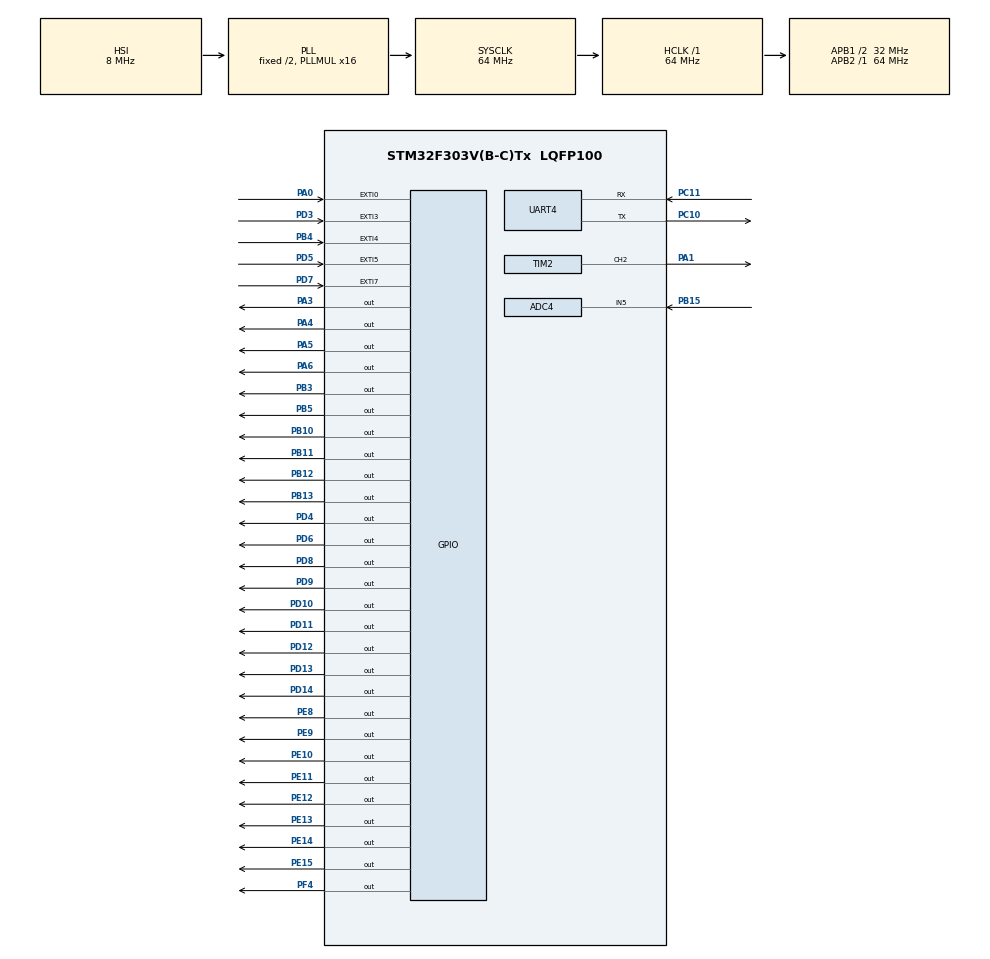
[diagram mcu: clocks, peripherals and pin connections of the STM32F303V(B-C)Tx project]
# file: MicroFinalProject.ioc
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ADC4.Channel-0\#ChannelRegularConversion=ADC_CHANNEL_5
ADC4.NbrOfConversionFlag=1
ADC4.Offset-0\#ChannelRegularConversion=0
ADC4.OffsetNumber-0\#ChannelRegularConversion=ADC_OFFSET_NONE
ADC4.Rank-0\#ChannelRegularConversion=1
ADC4.SamplingTime-0\#ChannelRegularConversion=ADC_SAMPLETIME_1CYCLE_5
Mcu.Family=STM32F3
Mcu.Name=STM32F303V(B-C)Tx
Mcu.Package=LQFP100
NVIC.ADC4_IRQn=true\:4\:0\:true\:false\:true\:true\:true\:true
NVIC.EXTI0_IRQn=true\:1\:0\:true\:false\:true\:true\:true\:true
NVIC.EXTI3_IRQn=true\:1\:0\:true\:false\:true\:true\:true\:true
NVIC.EXTI4_IRQn=true\:1\:0\:true\:false\:true\:true\:true\:true
NVIC.EXTI9_5_IRQn=true\:1\:0\:true\:false\:true\:true\:true\:true
NVIC.PriorityGroup=NVIC_PRIORITYGROUP_4
NVIC.TIM2_IRQn=true\:4\:0\:true\:false\:true\:true\:true\:true
NVIC.TIM3_IRQn=true\:3\:0\:true\:false\:true\:true\:true\:true
NVIC.TIM4_IRQn=true\:2\:0\:true\:false\:true\:true\:true\:true
NVIC.TIM6_DAC_IRQn=true\:1\:0\:true\:false\:true\:true\:true\:true
NVIC.UART4_IRQn=true\:1\:0\:true\:false\:true\:true\:true\:true
PA0.GPIO_PuPd=GPIO_PULLDOWN
PA0.Signal=GPXTI0
PA1.Signal=S_TIM2_CH2
PA3.GPIO_PuPd=GPIO_PULLDOWN
PA3.Signal=GPIO_Output
PA4.GPIO_PuPd=GPIO_PULLDOWN
PA4.Signal=GPIO_Output
PA5.GPIO_PuPd=GPIO_PULLDOWN
PA5.Signal=GPIO_Output
PA6.GPIO_PuPd=GPIO_PULLDOWN
PA6.Signal=GPIO_Output
PB10.GPIO_PuPd=GPIO_PULLDOWN
PB10.Signal=GPIO_Output
PB11.GPIO_PuPd=GPIO_PULLDOWN
PB11.Signal=GPIO_Output
PB12.GPIO_PuPd=GPIO_PULLDOWN
PB12.Signal=GPIO_Output
PB13.GPIO_PuPd=GPIO_PULLDOWN
PB13.Signal=GPIO_Output
PB15.Mode=IN5-Single-Ended
PB15.Signal=ADC4_IN5
PB3.GPIO_PuPd=GPIO_PULLDOWN
PB3.Signal=GPIO_Output
PB4.GPIO_PuPd=GPIO_PULLDOWN
PB4.Signal=GPXTI4
PB5.GPIO_PuPd=GPIO_PULLDOWN
PB5.Signal=GPIO_Output
PC10.Mode=Asynchronous
PC10.Signal=UART4_TX
PC11.Mode=Asynchronous
PC11.Signal=UART4_RX
PD10.GPIO_PuPd=GPIO_PULLDOWN
PD10.Signal=GPIO_Output
PD11.GPIO_PuPd=GPIO_PULLDOWN
PD11.Signal=GPIO_Output
PD12.GPIO_PuPd=GPIO_PULLDOWN
PD12.Signal=GPIO_Output
PD13.GPIO_PuPd=GPIO_PULLDOWN
PD13.Signal=GPIO_Output
PD14.GPIO_PuPd=GPIO_PULLDOWN
PD14.Signal=GPIO_Output
PD3.GPIO_PuPd=GPIO_PULLDOWN
PD3.Signal=GPXTI3
PD4.GPIO_PuPd=GPIO_PULLDOWN
PD4.Signal=GPIO_Output
PD5.GPIO_PuPd=GPIO_PULLDOWN
PD5.Signal=GPXTI5
PD6.GPIO_PuPd=GPIO_PULLDOWN
PD6.Signal=GPIO_Output
PD7.GPIO_PuPd=GPIO_PULLDOWN
PD7.Signal=GPXTI7
PD8.GPIO_PuPd=GPIO_PULLDOWN
PD8.Signal=GPIO_Output
PD9.GPIO_PuPd=GPIO_PULLDOWN
PD9.Signal=GPIO_Output
PE10.GPIO_PuPd=GPIO_PULLDOWN
PE10.Signal=GPIO_Output
PE11.GPIO_PuPd=GPIO_PULLDOWN
PE11.Signal=GPIO_Output
PE12.GPIO_PuPd=GPIO_PULLDOWN
PE12.Signal=GPIO_Output
PE13.GPIO_PuPd=GPIO_PULLDOWN
PE13.Signal=GPIO_Output
PE14.GPIO_PuPd=GPIO_PULLDOWN
PE14.Signal=GPIO_Output
PE15.GPIO_PuPd=GPIO_PULLDOWN
PE15.Signal=GPIO_Output
PE8.GPIO_PuPd=GPIO_PULLDOWN
PE8.Signal=GPIO_Output
PE9.GPIO_PuPd=GPIO_PULLDOWN
PE9.Signal=GPIO_Output
PF4.GPIO_PuPd=GPIO_PULLDOWN
PF4.Signal=GPIO_Output
ProjectManager.HeapSize=0x200
ProjectManager.StackSize=0x400
ProjectManager.TargetToolchain=STM32CubeIDE
RCC.AHBFreq_Value=64000000
RCC.APB1CLKDivider=RCC_HCLK_DIV2
RCC.APB1Freq_Value=32000000
RCC.APB1TimFreq_Value=64000000
RCC.APB2Freq_Value=64000000
RCC.APB2TimFreq_Value=64000000
RCC.CortexFreq_Value=64000000
RCC.HCLKFreq_Value=64000000
RCC.HSE_VALUE=8000000
RCC.HSI_VALUE=8000000
RCC.LSE_VALUE=32768
RCC.PLLMUL=RCC_PLL_MUL16
RCC.SYSCLKFreq_VALUE=64000000
RCC.SYSCLKSourceVirtual=RCC_SYSCLKSOURCE_PLLCLK
RCC.USBFreq_Value=64000000
RTC.AsynchPrediv=39
RTC.SynchPrediv=999
SH.S_TIM2_CH2.0=TIM2_CH2,PWM Generation2 CH2
TIM2.Channel-PWM\ Generation2\ CH2=TIM_CHANNEL_2
TIM2.Period=999
TIM2.Prescaler=999
TIM3.Period=9999
TIM3.Prescaler=1399
TIM4.Period=999
TIM4.Prescaler=63
TIM6.Period=9999
TIM6.Prescaler=3199
VP_RTC_VS_RTC_Activate.Mode=RTC_Enabled
VP_RTC_VS_RTC_Calendar.Mode=RTC_Calendar
VP_TIM2_VS_ClockSourceINT.Mode=Internal
VP_TIM3_VS_ClockSourceINT.Mode=Internal
VP_TIM4_VS_ClockSourceINT.Mode=Internal
VP_TIM6_VS_ClockSourceINT.Mode=Enable_Timer
board=custom

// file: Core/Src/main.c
/* USER CODE BEGIN Header */
/**
  ******************************************************************************
  * @file           : main.c
  * @brief          : Main program body
  ******************************************************************************
  * @attention
  *
  * Copyright (c) 2022 STMicroelectronics.
  * All rights reserved.
  *
  * This software is licensed under terms that can be found in the LICENSE file
  * in the root directory of this software component.
  * If no LICENSE file comes with this software, it is provided AS-IS.
  *
  ******************************************************************************
  */
/* USER CODE END Header */
#include "main.h"

/* USER CODE BEGIN Includes */
#include "LiquidCrystal.h"
/* USER CODE END Includes */

/* USER CODE BEGIN PD */
#define NOTE_B0  31
#define NOTE_C1  33
#define NOTE_CS1 35
#define NOTE_D1  37
#define NOTE_DS1 39
#define NOTE_E1  41
#define NOTE_F1  44
#define NOTE_FS1 46
#define NOTE_G1  49
#define NOTE_GS1 52
#define NOTE_A1  55
#define NOTE_AS1 58
#define NOTE_B1  62
#define NOTE_C2  65
#define NOTE_CS2 69
#define NOTE_D2  73
#define NOTE_DS2 78
#define NOTE_E2  82
#define NOTE_F2  87
#define NOTE_FS2 93
#define NOTE_G2  98
#define NOTE_GS2 104
#define NOTE_A2  110
#define NOTE_AS2 117
#define NOTE_B2  123
#define NOTE_C3  131
#define NOTE_CS3 139
#define NOTE_D3  147
#define NOTE_DS3 156
#define NOTE_E3  165
#define NOTE_F3  175
#define NOTE_FS3 185
#define NOTE_G3  196
#define NOTE_GS3 208
#define NOTE_A3  220
#define NOTE_AS3 233
#define NOTE_B3  247
#define NOTE_C4  262
#define NOTE_CS4 277
#define NOTE_D4  294
#define NOTE_DS4 311
#define NOTE_E4  330
#define NOTE_F4  349
#define NOTE_FS4 370
#define NOTE_G4  392
#define NOTE_GS4 415
#define NOTE_A4  440
#define NOTE_AS4 466
#define NOTE_B4  494
#define NOTE_C5  523
#define NOTE_CS5 554
#define NOTE_D5  587
#define NOTE_DS5 622
#define NOTE_E5  659
#define NOTE_F5  698
#define NOTE_FS5 740
#define NOTE_G5  784
#define NOTE_GS5 831
#define NOTE_A5  880
#define NOTE_AS5 932
#define NOTE_B5  988
#define NOTE_C6  1047
#define NOTE_CS6 1109
#define NOTE_D6  1175
#define NOTE_DS6 1245
#define NOTE_E6  1319
#define NOTE_F6  1397
#define NOTE_FS6 1480
#define NOTE_G6  1568
#define NOTE_GS6 1661
#define NOTE_A6  1760
#define NOTE_AS6 1865
#define NOTE_B6  1976
#define NOTE_C7  2093
#define NOTE_CS7 2217
#define NOTE_D7  2349
#define NOTE_DS7 2489
#define NOTE_E7  2637
#define NOTE_F7  2794
#define NOTE_FS7 2960
#define NOTE_G7  3136
#define NOTE_GS7 3322
#define NOTE_A7  3520
#define NOTE_AS7 3729
#define NOTE_B7  3951
#define NOTE_C8  4186
#define NOTE_CS8 4435
#define NOTE_D8  4699
#define NOTE_DS8 4978
#define REST      0
/* USER CODE END PD */

ADC_HandleTypeDef hadc4;

RTC_HandleTypeDef hrtc;

TIM_HandleTypeDef htim2;
TIM_HandleTypeDef htim3;
TIM_HandleTypeDef htim4;
TIM_HandleTypeDef htim6;

UART_HandleTypeDef huart4;

/* USER CODE BEGIN PV */
extern GPIO_TypeDef *const Column_ports[];
extern const uint16_t Column_pins[];
extern unsigned char data;
extern unsigned char buffer[100];
extern int position;
extern unsigned char name[100];
extern unsigned char plat_char[];
extern unsigned char broke_plat_char[];
extern unsigned char spring_plat_char[];
extern unsigned char black_hole_char[];
extern unsigned char alien_char[];
extern unsigned char player_char[];

extern void setup_melody(int melody[], int size_arr);
/* USER CODE END PV */

void SystemClock_Config(void);

static void MX_GPIO_Init(void);

static void MX_UART4_Init(void);

static void MX_RTC_Init(void);

static void MX_TIM4_Init(void);

static void MX_TIM2_Init(void);

static void MX_TIM3_Init(void);

static void MX_TIM6_Init(void);

static void MX_ADC4_Init(void);

/* USER CODE BEGIN 0 */
int starwars_sound[] = {

        NOTE_AS4, 8, NOTE_AS4, 8, NOTE_AS4, 8,//1
        NOTE_F5, 2, NOTE_C6, 2,
        NOTE_AS5, 8, NOTE_A5, 8, NOTE_G5, 8, NOTE_F6, 2, NOTE_C6, 4,
        NOTE_AS5, 8, NOTE_A5, 8, NOTE_G5, 8, NOTE_F6, 2, NOTE_C6, 4,
        NOTE_AS5, 8, NOTE_A5, 8, NOTE_AS5, 8, NOTE_G5, 2, NOTE_C5, 8, NOTE_C5, 8, NOTE_C5, 8,
        NOTE_F5, 2, NOTE_C6, 2,
        NOTE_AS5, 8, NOTE_A5, 8, NOTE_G5, 8, NOTE_F6, 2, NOTE_C6, 4,

        NOTE_AS5, 8, NOTE_A5, 8, NOTE_G5, 8, NOTE_F6, 2, NOTE_C6, 4, //8
        NOTE_AS5, 8, NOTE_A5, 8, NOTE_AS5, 8, NOTE_G5, 2, NOTE_C5, -8, NOTE_C5, 16,
        NOTE_D5, -4, NOTE_D5, 8, NOTE_AS5, 8, NOTE_A5, 8, NOTE_G5, 8, NOTE_F5, 8,
        NOTE_F5, 8, NOTE_G5, 8, NOTE_A5, 8, NOTE_G5, 4, NOTE_D5, 8, NOTE_E5, 4, NOTE_C5, -8, NOTE_C5, 16,
        NOTE_D5, -4, NOTE_D5, 8, NOTE_AS5, 8, NOTE_A5, 8, NOTE_G5, 8, NOTE_F5, 8,

        NOTE_C6, -8, NOTE_G5, 16, NOTE_G5, 2, REST, 8, NOTE_C5, 8,//13
        NOTE_D5, -4, NOTE_D5, 8, NOTE_AS5, 8, NOTE_A5, 8, NOTE_G5, 8, NOTE_F5, 8,
        NOTE_F5, 8, NOTE_G5, 8, NOTE_A5, 8, NOTE_G5, 4, NOTE_D5, 8, NOTE_E5, 4, NOTE_C6, -8, NOTE_C6, 16,
        NOTE_F6, 4, NOTE_DS6, 8, NOTE_CS6, 4, NOTE_C6, 8, NOTE_AS5, 4, NOTE_GS5, 8, NOTE_G5, 4, NOTE_F5, 8,
        NOTE_C6, 1

};
int super_mario_sound[] = {

        NOTE_E5, 8, NOTE_E5, 8, REST, 8, NOTE_E5, 8, REST, 8, NOTE_C5, 8, NOTE_E5, 8, //1
        NOTE_G5, 4, REST, 4, NOTE_G4, 8, REST, 4,
        NOTE_C5, -4, NOTE_G4, 8, REST, 4, NOTE_E4, -4, // 3
        NOTE_A4, 4, NOTE_B4, 4, NOTE_AS4, 8, NOTE_A4, 4,
        NOTE_G4, -8, NOTE_E5, -8, NOTE_G5, -8, NOTE_A5, 4, NOTE_F5, 8, NOTE_G5, 8,
        REST, 8, NOTE_E5, 4, NOTE_C5, 8, NOTE_D5, 8, NOTE_B4, -4,
        NOTE_C5, -4, NOTE_G4, 8, REST, 4, NOTE_E4, -4, // repeats from 3
        NOTE_A4, 4, NOTE_B4, 4, NOTE_AS4, 8, NOTE_A4, 4,
        NOTE_G4, -8, NOTE_E5, -8, NOTE_G5, -8, NOTE_A5, 4, NOTE_F5, 8, NOTE_G5, 8,
        REST, 8, NOTE_E5, 4, NOTE_C5, 8, NOTE_D5, 8, NOTE_B4, -4,

        REST, 4, NOTE_G5, 8, NOTE_FS5, 8, NOTE_F5, 8, NOTE_DS5, 4, NOTE_E5, 8,//7
        REST, 8, NOTE_GS4, 8, NOTE_A4, 8, NOTE_C4, 8, REST, 8, NOTE_A4, 8, NOTE_C5, 8, NOTE_D5, 8,
        REST, 4, NOTE_DS5, 4, REST, 8, NOTE_D5, -4,
        NOTE_C5, 2, REST, 2,

        REST, 4, NOTE_G5, 8, NOTE_FS5, 8, NOTE_F5, 8, NOTE_DS5, 4, NOTE_E5, 8,//repeats from 7
        REST, 8, NOTE_GS4, 8, NOTE_A4, 8, NOTE_C4, 8, REST, 8, NOTE_A4, 8, NOTE_C5, 8, NOTE_D5, 8,
        REST, 4, NOTE_DS5, 4, REST, 8, NOTE_D5, -4,
        NOTE_C5, 2, REST, 2,

        NOTE_C5, 8, NOTE_C5, 4, NOTE_C5, 8, REST, 8, NOTE_C5, 8, NOTE_D5, 4,//11
        NOTE_E5, 8, NOTE_C5, 4, NOTE_A4, 8, NOTE_G4, 2,

        NOTE_C5, 8, NOTE_C5, 4, NOTE_C5, 8, REST, 8, NOTE_C5, 8, NOTE_D5, 8, NOTE_E5, 8,//13
        REST, 1,
        NOTE_C5, 8, NOTE_C5, 4, NOTE_C5, 8, REST, 8, NOTE_C5, 8, NOTE_D5, 4,
        NOTE_E5, 8, NOTE_C5, 4, NOTE_A4, 8, NOTE_G4, 2,
        NOTE_E5, 8, NOTE_E5, 8, REST, 8, NOTE_E5, 8, REST, 8, NOTE_C5, 8, NOTE_E5, 4,
        NOTE_G5, 4, REST, 4, NOTE_G4, 4, REST, 4,
        NOTE_C5, -4, NOTE_G4, 8, REST, 4, NOTE_E4, -4, // 19

        NOTE_A4, 4, NOTE_B4, 4, NOTE_AS4, 8, NOTE_A4, 4,
        NOTE_G4, -8, NOTE_E5, -8, NOTE_G5, -8, NOTE_A5, 4, NOTE_F5, 8, NOTE_G5, 8,
        REST, 8, NOTE_E5, 4, NOTE_C5, 8, NOTE_D5, 8, NOTE_B4, -4,

        NOTE_C5, -4, NOTE_G4, 8, REST, 4, NOTE_E4, -4, // repeats from 19
        NOTE_A4, 4, NOTE_B4, 4, NOTE_AS4, 8, NOTE_A4, 4,
        NOTE_G4, -8, NOTE_E5, -8, NOTE_G5, -8, NOTE_A5, 4, NOTE_F5, 8, NOTE_G5, 8,
        REST, 8, NOTE_E5, 4, NOTE_C5, 8, NOTE_D5, 8, NOTE_B4, -4,

        NOTE_E5, 8, NOTE_C5, 4, NOTE_G4, 8, REST, 4, NOTE_GS4, 4,//23
        NOTE_A4, 8, NOTE_F5, 4, NOTE_F5, 8, NOTE_A4, 2,
        NOTE_D5, -8, NOTE_A5, -8, NOTE_A5, -8, NOTE_A5, -8, NOTE_G5, -8, NOTE_F5, -8,

        NOTE_E5, 8, NOTE_C5, 4, NOTE_A4, 8, NOTE_G4, 2, //26
        NOTE_E5, 8, NOTE_C5, 4, NOTE_G4, 8, REST, 4, NOTE_GS4, 4,
        NOTE_A4, 8, NOTE_F5, 4, NOTE_F5, 8, NOTE_A4, 2,
        NOTE_B4, 8, NOTE_F5, 4, NOTE_F5, 8, NOTE_F5, -8, NOTE_E5, -8, NOTE_D5, -8,
        NOTE_C5, 8, NOTE_E4, 4, NOTE_E4, 8, NOTE_C4, 2,

        NOTE_E5, 8, NOTE_C5, 4, NOTE_G4, 8, REST, 4, NOTE_GS4, 4,//repeats from 23
        NOTE_A4, 8, NOTE_F5, 4, NOTE_F5, 8, NOTE_A4, 2,
        NOTE_D5, -8, NOTE_A5, -8, NOTE_A5, -8, NOTE_A5, -8, NOTE_G5, -8, NOTE_F5, -8,

        NOTE_E5, 8, NOTE_C5, 4, NOTE_A4, 8, NOTE_G4, 2, //26
        NOTE_E5, 8, NOTE_C5, 4, NOTE_G4, 8, REST, 4, NOTE_GS4, 4,
        NOTE_A4, 8, NOTE_F5, 4, NOTE_F5, 8, NOTE_A4, 2,
        NOTE_B4, 8, NOTE_F5, 4, NOTE_F5, 8, NOTE_F5, -8, NOTE_E5, -8, NOTE_D5, -8,
        NOTE_C5, 8, NOTE_E4, 4, NOTE_E4, 8, NOTE_C4, 2,
        NOTE_C5, 8, NOTE_C5, 4, NOTE_C5, 8, REST, 8, NOTE_C5, 8, NOTE_D5, 8, NOTE_E5, 8,
        REST, 1,

        NOTE_C5, 8, NOTE_C5, 4, NOTE_C5, 8, REST, 8, NOTE_C5, 8, NOTE_D5, 4, //33
        NOTE_E5, 8, NOTE_C5, 4, NOTE_A4, 8, NOTE_G4, 2,
        NOTE_E5, 8, NOTE_E5, 8, REST, 8, NOTE_E5, 8, REST, 8, NOTE_C5, 8, NOTE_E5, 4,
        NOTE_G5, 4, REST, 4, NOTE_G4, 4, REST, 4,
        NOTE_E5, 8, NOTE_C5, 4, NOTE_G4, 8, REST, 4, NOTE_GS4, 4,
        NOTE_A4, 8, NOTE_F5, 4, NOTE_F5, 8, NOTE_A4, 2,
        NOTE_D5, -8, NOTE_A5, -8, NOTE_A5, -8, NOTE_A5, -8, NOTE_G5, -8, NOTE_F5, -8,

        NOTE_E5, 8, NOTE_C5, 4, NOTE_A4, 8, NOTE_G4, 2, //40
        NOTE_E5, 8, NOTE_C5, 4, NOTE_G4, 8, REST, 4, NOTE_GS4, 4,
        NOTE_A4, 8, NOTE_F5, 4, NOTE_F5, 8, NOTE_A4, 2,
        NOTE_B4, 8, NOTE_F5, 4, NOTE_F5, 8, NOTE_F5, -8, NOTE_E5, -8, NOTE_D5, -8,
        NOTE_C5, 8, NOTE_E4, 4, NOTE_E4, 8, NOTE_C4, 2,

        NOTE_C5, -4, NOTE_G4, -4, NOTE_E4, 4, //45
        NOTE_A4, -8, NOTE_B4, -8, NOTE_A4, -8, NOTE_GS4, -8, NOTE_AS4, -8, NOTE_GS4, -8,
        NOTE_G4, 8, NOTE_D4, 8, NOTE_E4, -2,

};

//define consts
const int status_start = 0, status_menu = 1,
        status_game = 2, status_info = 3, status_end = 4, status_select_name = 5;
int status = 0;
RTC_TimeTypeDef rTime;
RTC_DateTypeDef rDate;

void start_game() {

    rTime.Hours = 0;
    rTime.Minutes = 0;
    rTime.Seconds = 0;
    HAL_RTC_SetTime(&hrtc, &rTime, RTC_FORMAT_BIN);

    rDate.Date = 11;
    rDate.Month = 7;
    rDate.Year = 22;
    HAL_RTC_SetDate(&hrtc, &rDate, RTC_FORMAT_BIN);

    createChar(0, plat_char);
    createChar(1, broke_plat_char);
    createChar(2, spring_plat_char);
    createChar(3, black_hole_char);
    createChar(4, alien_char);
    createChar(5, player_char);

    setCursor(5, 1);
    print("Doodle Jump");
    setCursor(5, 2);
    write(0);
    setCursor(5, 3);
    write(1);
    setCursor(7, 2);
    write(2);
    setCursor(7, 3);
    write(3);
    setCursor(9, 2);
    write(4);
    HAL_TIM_Base_Start_IT(&htim6);
    setup_melody(super_mario_sound, sizeof(super_mario_sound));

//    setCursor(4, 2);
//    write(player_index);
//    setCursor(5, 2);
//    write(stair_index);
//    setCursor(6, 2);
//    write(broke_stair_index);
//    setCursor(7, 2);
//    write(coil_index);
}

/* USER CODE END 0 */

int main(void) {
    /* USER CODE BEGIN 1 */
    // UART white->PC10
    // UART green->PC11
    // D1 ->PF4
    // D2 ->PA3
    // D3 ->PA4
    // D4 ->PA5
    // dot ->PA6
    // input A ->PB10
    // input B ->PB11
    // input C ->PB12
    // input D ->PB13
    // ADC -> PB15
    // Buzzer -> PA1
    /* USER CODE END 1 */

    /* MCU Configuration--------------------------------------------------------*/

    /* Reset of all peripherals, Initializes the Flash interface and the Systick. */
    HAL_Init();

    /* Configure the system clock */
    SystemClock_Config();

    /* Initialize all configured peripherals */
    MX_GPIO_Init();
    MX_UART4_Init();
    MX_RTC_Init();
    MX_TIM4_Init();
    MX_TIM2_Init();
    MX_TIM3_Init();
    MX_TIM6_Init();
    MX_ADC4_Init();
    /* USER CODE BEGIN 2 */
    HAL_GPIO_WritePin(Column_ports[0], Column_pins[0], 1);
    HAL_GPIO_WritePin(Column_ports[1], Column_pins[1], 1);
    HAL_GPIO_WritePin(Column_ports[2], Column_pins[2], 1);
    HAL_GPIO_WritePin(Column_ports[3], Column_pins[3], 1);

    LiquidCrystal(GPIOD, GPIO_PIN_8, GPIO_PIN_9, GPIO_PIN_10, GPIO_PIN_11, GPIO_PIN_12, GPIO_PIN_13, GPIO_PIN_14);
    begin(20, 4);

    start_game();
    HAL_UART_Receive_IT(&huart4, &data, sizeof(unsigned char));

    /* USER CODE END 2 */

    /* Infinite loop */
    while (1) {

    }
}

void SystemClock_Config(void) {
    RCC_OscInitTypeDef RCC_OscInitStruct = {0};
    RCC_ClkInitTypeDef RCC_ClkInitStruct = {0};
    RCC_PeriphCLKInitTypeDef PeriphClkInit = {0};

    /** Initializes the RCC Oscillators according to the specified parameters
    * in the RCC_OscInitTypeDef structure.
    */
    RCC_OscInitStruct.OscillatorType = RCC_OSCILLATORTYPE_HSI | RCC_OSCILLATORTYPE_LSI;
    RCC_OscInitStruct.HSIState = RCC_HSI_ON;
    RCC_OscInitStruct.HSICalibrationValue = RCC_HSICALIBRATION_DEFAULT;
    RCC_OscInitStruct.LSIState = RCC_LSI_ON;
    RCC_OscInitStruct.PLL.PLLState = RCC_PLL_ON;
    RCC_OscInitStruct.PLL.PLLSource = RCC_PLLSOURCE_HSI;
    RCC_OscInitStruct.PLL.PLLMUL = RCC_PLL_MUL16;
    if (HAL_RCC_OscConfig(&RCC_OscInitStruct) != HAL_OK) {
        Error_Handler();
    }

    /** Initializes the CPU, AHB and APB buses clocks
    */
    RCC_ClkInitStruct.ClockType = RCC_CLOCKTYPE_HCLK | RCC_CLOCKTYPE_SYSCLK
                                  | RCC_CLOCKTYPE_PCLK1 | RCC_CLOCKTYPE_PCLK2;
    RCC_ClkInitStruct.SYSCLKSource = RCC_SYSCLKSOURCE_PLLCLK;
    RCC_ClkInitStruct.AHBCLKDivider = RCC_SYSCLK_DIV1;
    RCC_ClkInitStruct.APB1CLKDivider = RCC_HCLK_DIV2;
    RCC_ClkInitStruct.APB2CLKDivider = RCC_HCLK_DIV1;

    if (HAL_RCC_ClockConfig(&RCC_ClkInitStruct, FLASH_LATENCY_2) != HAL_OK) {
        Error_Handler();
    }
    PeriphClkInit.PeriphClockSelection = RCC_PERIPHCLK_UART4 | RCC_PERIPHCLK_RTC
                                         | RCC_PERIPHCLK_ADC34;
    PeriphClkInit.Uart4ClockSelection = RCC_UART4CLKSOURCE_PCLK1;
    PeriphClkInit.Adc34ClockSelection = RCC_ADC34PLLCLK_DIV1;
    PeriphClkInit.RTCClockSelection = RCC_RTCCLKSOURCE_LSI;
    if (HAL_RCCEx_PeriphCLKConfig(&PeriphClkInit) != HAL_OK) {
        Error_Handler();
    }
}

static void MX_ADC4_Init(void) {

    ADC_ChannelConfTypeDef sConfig = {0};

    /** Common config
    */
    hadc4.Instance = ADC4;
    hadc4.Init.ClockPrescaler = ADC_CLOCK_ASYNC_DIV1;
    hadc4.Init.Resolution = ADC_RESOLUTION_12B;
    hadc4.Init.ScanConvMode = ADC_SCAN_DISABLE;
    hadc4.Init.ContinuousConvMode = DISABLE;
    hadc4.Init.DiscontinuousConvMode = DISABLE;
    hadc4.Init.ExternalTrigConvEdge = ADC_EXTERNALTRIGCONVEDGE_NONE;
    hadc4.Init.ExternalTrigConv = ADC_SOFTWARE_START;
    hadc4.Init.DataAlign = ADC_DATAALIGN_RIGHT;
    hadc4.Init.NbrOfConversion = 1;
    hadc4.Init.DMAContinuousRequests = DISABLE;
    hadc4.Init.EOCSelection = ADC_EOC_SINGLE_CONV;
    hadc4.Init.LowPowerAutoWait = DISABLE;
    hadc4.Init.Overrun = ADC_OVR_DATA_OVERWRITTEN;
    if (HAL_ADC_Init(&hadc4) != HAL_OK) {
        Error_Handler();
    }

    /** Configure Regular Channel
    */
    sConfig.Channel = ADC_CHANNEL_5;
    sConfig.Rank = ADC_REGULAR_RANK_1;
    sConfig.SingleDiff = ADC_SINGLE_ENDED;
    sConfig.SamplingTime = ADC_SAMPLETIME_1CYCLE_5;
    sConfig.OffsetNumber = ADC_OFFSET_NONE;
    sConfig.Offset = 0;
    if (HAL_ADC_ConfigChannel(&hadc4, &sConfig) != HAL_OK) {
        Error_Handler();
    }

}

static void MX_RTC_Init(void) {

    RTC_TimeTypeDef sTime = {0};
    RTC_DateTypeDef sDate = {0};

    /** Initialize RTC Only
    */
    hrtc.Instance = RTC;
    hrtc.Init.HourFormat = RTC_HOURFORMAT_24;
    hrtc.Init.AsynchPrediv = 39;
    hrtc.Init.SynchPrediv = 999;
    hrtc.Init.OutPut = RTC_OUTPUT_DISABLE;
    hrtc.Init.OutPutPolarity = RTC_OUTPUT_POLARITY_HIGH;
    hrtc.Init.OutPutType = RTC_OUTPUT_TYPE_OPENDRAIN;
    if (HAL_RTC_Init(&hrtc) != HAL_OK) {
        Error_Handler();
    }

    /** Initialize RTC and set the Time and Date
    */
    sTime.Hours = 0x0;
    sTime.Minutes = 0x0;
    sTime.Seconds = 0x0;
    sTime.DayLightSaving = RTC_DAYLIGHTSAVING_NONE;
    sTime.StoreOperation = RTC_STOREOPERATION_RESET;
    if (HAL_RTC_SetTime(&hrtc, &sTime, RTC_FORMAT_BCD) != HAL_OK) {
        Error_Handler();
    }
    sDate.WeekDay = RTC_WEEKDAY_MONDAY;
    sDate.Month = RTC_MONTH_JANUARY;
    sDate.Date = 0x1;
    sDate.Year = 0x0;

    if (HAL_RTC_SetDate(&hrtc, &sDate, RTC_FORMAT_BCD) != HAL_OK) {
        Error_Handler();
    }

}

static void MX_TIM2_Init(void) {

    TIM_ClockConfigTypeDef sClockSourceConfig = {0};
    TIM_MasterConfigTypeDef sMasterConfig = {0};
    TIM_OC_InitTypeDef sConfigOC = {0};

    htim2.Instance = TIM2;
    htim2.Init.Prescaler = 999;
    htim2.Init.CounterMode = TIM_COUNTERMODE_UP;
    htim2.Init.Period = 999;
    htim2.Init.ClockDivision = TIM_CLOCKDIVISION_DIV1;
    htim2.Init.AutoReloadPreload = TIM_AUTORELOAD_PRELOAD_DISABLE;
    if (HAL_TIM_Base_Init(&htim2) != HAL_OK) {
        Error_Handler();
    }
    sClockSourceConfig.ClockSource = TIM_CLOCKSOURCE_INTERNAL;
    if (HAL_TIM_ConfigClockSource(&htim2, &sClockSourceConfig) != HAL_OK) {
        Error_Handler();
    }
    if (HAL_TIM_PWM_Init(&htim2) != HAL_OK) {
        Error_Handler();
    }
    sMasterConfig.MasterOutputTrigger = TIM_TRGO_RESET;
    sMasterConfig.MasterSlaveMode = TIM_MASTERSLAVEMODE_DISABLE;
    if (HAL_TIMEx_MasterConfigSynchronization(&htim2, &sMasterConfig) != HAL_OK) {
        Error_Handler();
    }
    sConfigOC.OCMode = TIM_OCMODE_PWM1;
    sConfigOC.Pulse = 0;
    sConfigOC.OCPolarity = TIM_OCPOLARITY_HIGH;
    sConfigOC.OCFastMode = TIM_OCFAST_DISABLE;
    if (HAL_TIM_PWM_ConfigChannel(&htim2, &sConfigOC, TIM_CHANNEL_2) != HAL_OK) {
        Error_Handler();
    }
    HAL_TIM_MspPostInit(&htim2);

}

static void MX_TIM3_Init(void) {

    TIM_ClockConfigTypeDef sClockSourceConfig = {0};
    TIM_MasterConfigTypeDef sMasterConfig = {0};

    htim3.Instance = TIM3;
    htim3.Init.Prescaler = 1399;
    htim3.Init.CounterMode = TIM_COUNTERMODE_UP;
    htim3.Init.Period = 9999;
    htim3.Init.ClockDivision = TIM_CLOCKDIVISION_DIV1;
    htim3.Init.AutoReloadPreload = TIM_AUTORELOAD_PRELOAD_DISABLE;
    if (HAL_TIM_Base_Init(&htim3) != HAL_OK) {
        Error_Handler();
    }
    sClockSourceConfig.ClockSource = TIM_CLOCKSOURCE_INTERNAL;
    if (HAL_TIM_ConfigClockSource(&htim3, &sClockSourceConfig) != HAL_OK) {
        Error_Handler();
    }
    sMasterConfig.MasterOutputTrigger = TIM_TRGO_RESET;
    sMasterConfig.MasterSlaveMode = TIM_MASTERSLAVEMODE_DISABLE;
    if (HAL_TIMEx_MasterConfigSynchronization(&htim3, &sMasterConfig) != HAL_OK) {
        Error_Handler();
    }

}

static void MX_TIM4_Init(void) {

    TIM_ClockConfigTypeDef sClockSourceConfig = {0};
    TIM_MasterConfigTypeDef sMasterConfig = {0};

    htim4.Instance = TIM4;
    htim4.Init.Prescaler = 63;
    htim4.Init.CounterMode = TIM_COUNTERMODE_UP;
    htim4.Init.Period = 999;
    htim4.Init.ClockDivision = TIM_CLOCKDIVISION_DIV1;
    htim4.Init.AutoReloadPreload = TIM_AUTORELOAD_PRELOAD_DISABLE;
    if (HAL_TIM_Base_Init(&htim4) != HAL_OK) {
        Error_Handler();
    }
    sClockSourceConfig.ClockSource = TIM_CLOCKSOURCE_INTERNAL;
    if (HAL_TIM_ConfigClockSource(&htim4, &sClockSourceConfig) != HAL_OK) {
        Error_Handler();
    }
    sMasterConfig.MasterOutputTrigger = TIM_TRGO_RESET;
    sMasterConfig.MasterSlaveMode = TIM_MASTERSLAVEMODE_DISABLE;
    if (HAL_TIMEx_MasterConfigSynchronization(&htim4, &sMasterConfig) != HAL_OK) {
        Error_Handler();
    }

}

static void MX_TIM6_Init(void) {

    TIM_MasterConfigTypeDef sMasterConfig = {0};

    htim6.Instance = TIM6;
    htim6.Init.Prescaler = 3199;
    htim6.Init.CounterMode = TIM_COUNTERMODE_UP;
    htim6.Init.Period = 9999;
    htim6.Init.AutoReloadPreload = TIM_AUTORELOAD_PRELOAD_DISABLE;
    if (HAL_TIM_Base_Init(&htim6) != HAL_OK) {
        Error_Handler();
    }
    sMasterConfig.MasterOutputTrigger = TIM_TRGO_RESET;
    sMasterConfig.MasterSlaveMode = TIM_MASTERSLAVEMODE_DISABLE;
    if (HAL_TIMEx_MasterConfigSynchronization(&htim6, &sMasterConfig) != HAL_OK) {
        Error_Handler();
    }

}

static void MX_UART4_Init(void) {

    huart4.Instance = UART4;
    huart4.Init.BaudRate = 115200;
    huart4.Init.WordLength = UART_WORDLENGTH_8B;
    huart4.Init.StopBits = UART_STOPBITS_1;
    huart4.Init.Parity = UART_PARITY_NONE;
    huart4.Init.Mode = UART_MODE_TX_RX;
    huart4.Init.HwFlowCtl = UART_HWCONTROL_NONE;
    huart4.Init.OverSampling = UART_OVERSAMPLING_16;
    huart4.Init.OneBitSampling = UART_ONE_BIT_SAMPLE_DISABLE;
    huart4.AdvancedInit.AdvFeatureInit = UART_ADVFEATURE_NO_INIT;
    if (HAL_UART_Init(&huart4) != HAL_OK) {
        Error_Handler();
    }

}

static void MX_GPIO_Init(void) {
    GPIO_InitTypeDef GPIO_InitStruct = {0};

    /* GPIO Ports Clock Enable */
    __HAL_RCC_GPIOA_CLK_ENABLE();
    __HAL_RCC_GPIOF_CLK_ENABLE();
    __HAL_RCC_GPIOE_CLK_ENABLE();
    __HAL_RCC_GPIOB_CLK_ENABLE();
    __HAL_RCC_GPIOD_CLK_ENABLE();
    __HAL_RCC_GPIOC_CLK_ENABLE();

    /*Configure GPIO pin Output Level */
    HAL_GPIO_WritePin(GPIOA, GPIO_PIN_3 | GPIO_PIN_4 | GPIO_PIN_5 | GPIO_PIN_6, GPIO_PIN_RESET);

    /*Configure GPIO pin Output Level */
    HAL_GPIO_WritePin(GPIOF, GPIO_PIN_4, GPIO_PIN_RESET);

    /*Configure GPIO pin Output Level */
    HAL_GPIO_WritePin(GPIOE, GPIO_PIN_8 | GPIO_PIN_9 | GPIO_PIN_10 | GPIO_PIN_11
                             | GPIO_PIN_12 | GPIO_PIN_13 | GPIO_PIN_14 | GPIO_PIN_15, GPIO_PIN_RESET);

    /*Configure GPIO pin Output Level */
    HAL_GPIO_WritePin(GPIOB, GPIO_PIN_10 | GPIO_PIN_11 | GPIO_PIN_12 | GPIO_PIN_13
                             | GPIO_PIN_3 | GPIO_PIN_5, GPIO_PIN_RESET);

    /*Configure GPIO pin Output Level */
    HAL_GPIO_WritePin(GPIOD, GPIO_PIN_8 | GPIO_PIN_9 | GPIO_PIN_10 | GPIO_PIN_11
                             | GPIO_PIN_12 | GPIO_PIN_13 | GPIO_PIN_14 | GPIO_PIN_4
                             | GPIO_PIN_6, GPIO_PIN_RESET);

    /*Configure GPIO pin : PA0 */
    GPIO_InitStruct.Pin = GPIO_PIN_0;
    GPIO_InitStruct.Mode = GPIO_MODE_IT_RISING;
    GPIO_InitStruct.Pull = GPIO_PULLDOWN;
    HAL_GPIO_Init(GPIOA, &GPIO_InitStruct);

    /*Configure GPIO pins : PA3 PA4 PA5 PA6 */
    GPIO_InitStruct.Pin = GPIO_PIN_3 | GPIO_PIN_4 | GPIO_PIN_5 | GPIO_PIN_6;
    GPIO_InitStruct.Mode = GPIO_MODE_OUTPUT_PP;
    GPIO_InitStruct.Pull = GPIO_PULLDOWN;
    GPIO_InitStruct.Speed = GPIO_SPEED_FREQ_LOW;
    HAL_GPIO_Init(GPIOA, &GPIO_InitStruct);

    /*Configure GPIO pin : PF4 */
    GPIO_InitStruct.Pin = GPIO_PIN_4;
    GPIO_InitStruct.Mode = GPIO_MODE_OUTPUT_PP;
    GPIO_InitStruct.Pull = GPIO_PULLDOWN;
    GPIO_InitStruct.Speed = GPIO_SPEED_FREQ_LOW;
    HAL_GPIO_Init(GPIOF, &GPIO_InitStruct);

    /*Configure GPIO pins : PE8 PE9 PE10 PE11
                             PE12 PE13 PE14 PE15 */
    GPIO_InitStruct.Pin = GPIO_PIN_8 | GPIO_PIN_9 | GPIO_PIN_10 | GPIO_PIN_11
                          | GPIO_PIN_12 | GPIO_PIN_13 | GPIO_PIN_14 | GPIO_PIN_15;
    GPIO_InitStruct.Mode = GPIO_MODE_OUTPUT_PP;
    GPIO_InitStruct.Pull = GPIO_PULLDOWN;
    GPIO_InitStruct.Speed = GPIO_SPEED_FREQ_LOW;
    HAL_GPIO_Init(GPIOE, &GPIO_InitStruct);

    /*Configure GPIO pins : PB10 PB11 PB12 PB13
                             PB3 PB5 */
    GPIO_InitStruct.Pin = GPIO_PIN_10 | GPIO_PIN_11 | GPIO_PIN_12 | GPIO_PIN_13
                          | GPIO_PIN_3 | GPIO_PIN_5;
    GPIO_InitStruct.Mode = GPIO_MODE_OUTPUT_PP;
    GPIO_InitStruct.Pull = GPIO_PULLDOWN;
    GPIO_InitStruct.Speed = GPIO_SPEED_FREQ_LOW;
    HAL_GPIO_Init(GPIOB, &GPIO_InitStruct);

    /*Configure GPIO pins : PD8 PD9 PD10 PD11
                             PD12 PD13 PD14 PD4
                             PD6 */
    GPIO_InitStruct.Pin = GPIO_PIN_8 | GPIO_PIN_9 | GPIO_PIN_10 | GPIO_PIN_11
                          | GPIO_PIN_12 | GPIO_PIN_13 | GPIO_PIN_14 | GPIO_PIN_4
                          | GPIO_PIN_6;
    GPIO_InitStruct.Mode = GPIO_MODE_OUTPUT_PP;
    GPIO_InitStruct.Pull = GPIO_PULLDOWN;
    GPIO_InitStruct.Speed = GPIO_SPEED_FREQ_LOW;
    HAL_GPIO_Init(GPIOD, &GPIO_InitStruct);

    /*Configure GPIO pins : PD3 PD5 PD7 */
    GPIO_InitStruct.Pin = GPIO_PIN_3 | GPIO_PIN_5 | GPIO_PIN_7;
    GPIO_InitStruct.Mode = GPIO_MODE_IT_RISING;
    GPIO_InitStruct.Pull = GPIO_PULLDOWN;
    HAL_GPIO_Init(GPIOD, &GPIO_InitStruct);

    /*Configure GPIO pin : PB4 */
    GPIO_InitStruct.Pin = GPIO_PIN_4;
    GPIO_InitStruct.Mode = GPIO_MODE_IT_RISING;
    GPIO_InitStruct.Pull = GPIO_PULLDOWN;
    HAL_GPIO_Init(GPIOB, &GPIO_InitStruct);

    /* EXTI interrupt init*/
    HAL_NVIC_SetPriority(EXTI0_IRQn, 1, 0);
    HAL_NVIC_EnableIRQ(EXTI0_IRQn);

    HAL_NVIC_SetPriority(EXTI3_IRQn, 1, 0);
    HAL_NVIC_EnableIRQ(EXTI3_IRQn);

    HAL_NVIC_SetPriority(EXTI4_IRQn, 1, 0);
    HAL_NVIC_EnableIRQ(EXTI4_IRQn);

    HAL_NVIC_SetPriority(EXTI9_5_IRQn, 1, 0);
    HAL_NVIC_EnableIRQ(EXTI9_5_IRQn);

}

void Error_Handler(void) {
    __disable_irq();
    while (1) {
    }
}
